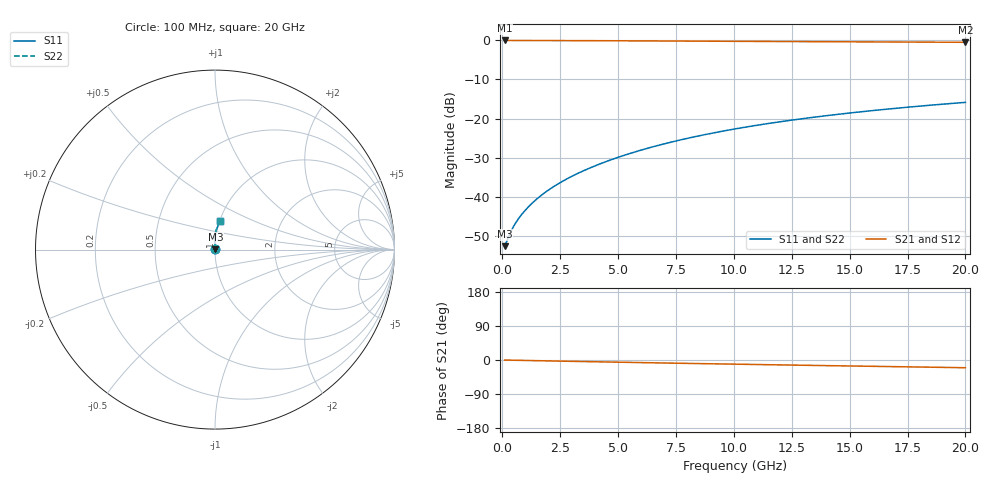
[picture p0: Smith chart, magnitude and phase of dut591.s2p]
! Touchstone file exported from HFSS 2024.1.0
!  File:  C:/UserFiles/LocalFiles/RDL_TSV_Batchsim/temp_RDL_bottom_591_1779691103.aedt
!  Generated:  02:41:01 PM May 25, 2026
!  Design:  RDL_bottom
!  Project:  temp_RDL_bottom_591_1779691103
!  Setup:  Setup1
!  Solution:  Sweep
! Variables:
!  dtsv = 10.80580581um
!  hbump = 3um
!  htsv = 93.78um
!  ldown = 308.37um
!  lrdl = 100um
!  p = 40
!  p1 = 40.01um
!  rhole = 1um
!  t = 450um
!  tdown = 2.29um
!  trdl = 3.915915916um
!  wdown = 26.4um
!  wrdl = 20um
# GHz S MA R 50.000000
! Terminal data exported
! Port[1] = RDL1_T1
! Port[2] = RDL1_T2
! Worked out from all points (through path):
!   200 points, 100 MHz to 20 GHz, reference 50 ohm
!   highest |S21| = -0.02 dB at 100 MHz (marker M1); lowest = -0.5 dB at 20 GHz (marker M2)
!   group delay of S21, straight-line fit = 2.8 ps
!   lowest |S11| = -52.7 dB at 100 MHz (marker M3), VSWR 1.00, Z = 50.2 + j0.0757 ohm
!   |S11| at or under -10 dB: start of sweep to end of sweep
!   |S22| runs from -52.7 to -15.9 dB; largest |S21 - S12| = 2.1e-15
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0.1  0.002328 18.9  0.9978 -0.1  0.9978 -0.1  0.002328 18.9
! Gamma 0 0 0 0
! Port Impedance 50 0 50 0
0.3  0.003209 41.8  0.9976 -0.4  0.9976 -0.4  0.00321 41.8
0.4  0.003721 47.9  0.9974 -0.5  0.9974 -0.5  0.003721 47.9
0.6  0.004732 56.0  0.9971 -0.7  0.9971 -0.7  0.004732 56.0
0.9  0.006238 64.1  0.9967 -1.1  0.9967 -1.1  0.006239 64.1
1.1  0.007266 68.1  0.9965 -1.3  0.9965 -1.3  0.007266 68.1
1.3  0.008318 71.3  0.9963 -1.6  0.9963 -1.6  0.008318 71.3
1.8  0.01106 77.1  0.9956 -2.2  0.9956 -2.2  0.01106 77.1
2.3  0.01394 81.1  0.9948 -2.7  0.9948 -2.7  0.01394 81.2
2.9  0.01758 84.6  0.9937 -3.4  0.9937 -3.4  0.01758 84.6
3.5  0.02142 87.0  0.9924 -4.1  0.9924 -4.1  0.02142 87.0
4.2  0.02615 89.0  0.9907 -4.9  0.9907 -4.9  0.02616 89.0
5  0.03189 90.5  0.9885 -5.8  0.9885 -5.8  0.03189 90.5
5.9  0.03871 91.5  0.9858 -6.8  0.9858 -6.8  0.03872 91.5
6.8  0.04588 91.9  0.9831 -7.7  0.9831 -7.7  0.04589 91.9
8.4  0.05927 91.5  0.9781 -9.4  0.9781 -9.4  0.05928 91.5
10.1  0.07408 90.3  0.9728 -11.1  0.9728 -11.1  0.0741 90.4
11.7  0.08829 88.8  0.9679 -12.7  0.9679 -12.7  0.08831 88.8
13.4  0.1035 86.9  0.9629 -14.3  0.9629 -14.3  0.1035 86.9
15  0.1177 85.0  0.9584 -15.8  0.9584 -15.8  0.1177 85.1
16.7  0.1327 83.0  0.9538 -17.4  0.9538 -17.4  0.1327 83.0
20  0.161 79.1  0.9451 -20.4  0.9451 -20.4  0.1611 79.1
